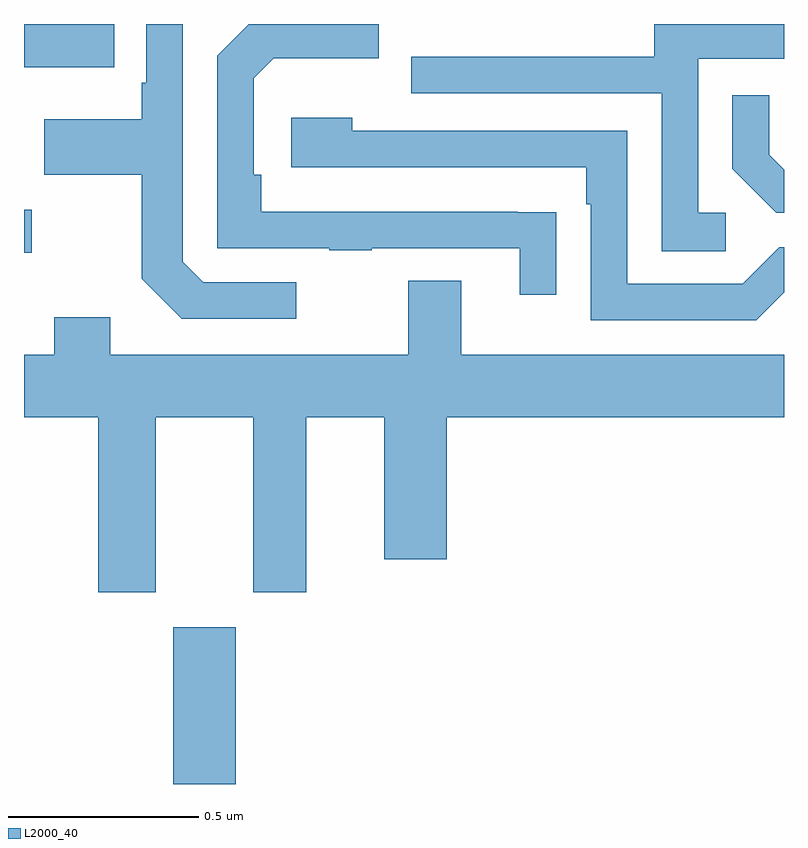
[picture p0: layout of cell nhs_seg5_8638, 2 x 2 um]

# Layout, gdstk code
import gdstk
lib = gdstk.Library(unit=1e-6, precision=1e-09)
def R(c, l, rs):  # rectangles x0, y0, x1, y1
    for r in rs: c.add(gdstk.rectangle(r[:2], r[2:], *l))
def P(c, l, *ps):  # polygons
    for p in ps: c.add(gdstk.Polygon(p, *l))
L2000_40 = (2000, 40)

nhs_seg5_8638 = lib.new_cell('nhs_seg5_8638')
R(nhs_seg5_8638, L2000_40, [(224.393,851.799,224.557,852.211), (224,853.197,224.02,853.31), (224,853.685,224.237,853.799)])
P(nhs_seg5_8638, L2000_40, [(225.847,853.302),(225.774,853.302),(225.774,853.707),(226,853.707),(226,853.799),(225.659,853.799),(225.659,853.713),(225.019,853.713),(225.019,853.617),(225.678,853.617),(225.678,853.201),(225.847,853.201)],
  [(224.716,853.119),(224.472,853.119),(224.418,853.173),(224.418,853.799),(224.322,853.799),(224.322,853.645),(224.31,853.645),(224.31,853.549),(224.053,853.549),(224.053,853.402),(224.31,853.402),(224.31,853.129),(224.415,853.023),(224.716,853.023)],
  [(225.401,853.304),(225.299,853.304),(225.299,853.305),(224.624,853.305),(224.624,853.402),(224.604,853.402),(224.604,853.656),(224.657,853.709),(224.934,853.709),(224.934,853.799),(224.591,853.799),(224.508,853.716),(224.508,853.209),(224.803,853.209),(224.803,853.204),(224.915,853.204),(224.915,853.209),(225.305,853.209),(225.305,853.086),(225.401,853.086)],
  [(226,853.416),(225.961,853.455),(225.961,853.612),(225.864,853.612),(225.864,853.418),(225.98,853.302),(226,853.302)],
  [(226,853.093),(226,853.212),(225.987,853.212),(225.891,853.116),(225.588,853.116),(225.588,853.518),(224.864,853.518),(224.864,853.552),(224.703,853.552),(224.703,853.422),(225.479,853.422),(225.479,853.325),(225.492,853.325),(225.492,853.02),(225.927,853.02)],
  [(224.347,852.764),(224.603,852.764),(224.603,852.303),(224.743,852.303),(224.743,852.764),(224.948,852.764),(224.948,852.39),(225.112,852.39),(225.112,852.764),(226,852.764),(226,852.928),(225.151,852.928),(225.151,853.123),(225.011,853.123),(225.011,852.928),(224.227,852.928),(224.227,853.027),(224.08,853.027),(224.08,852.928),(224,852.928),(224,852.764),(224.195,852.764),(224.195,852.303),(224.347,852.303)])

lib.write_gds('nhs_seg5_8638.gds')
